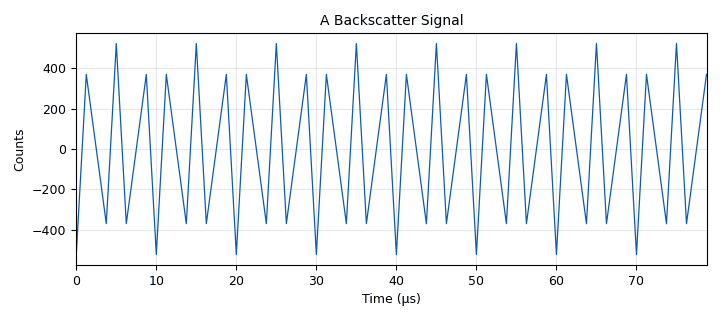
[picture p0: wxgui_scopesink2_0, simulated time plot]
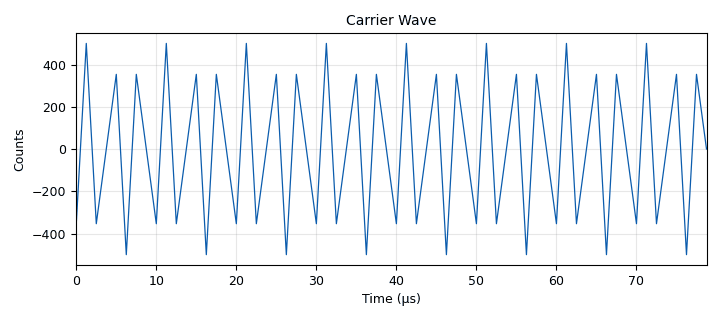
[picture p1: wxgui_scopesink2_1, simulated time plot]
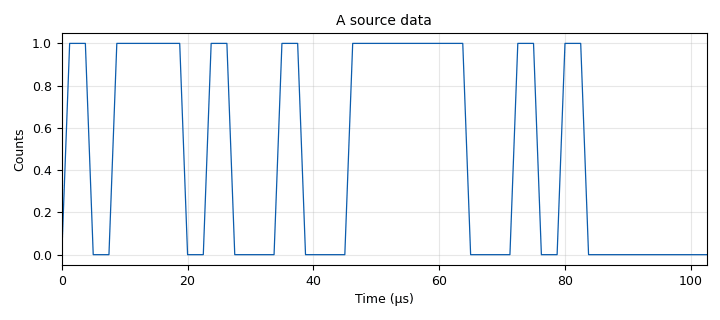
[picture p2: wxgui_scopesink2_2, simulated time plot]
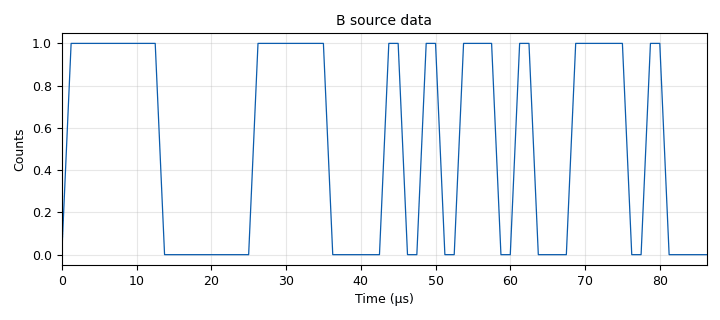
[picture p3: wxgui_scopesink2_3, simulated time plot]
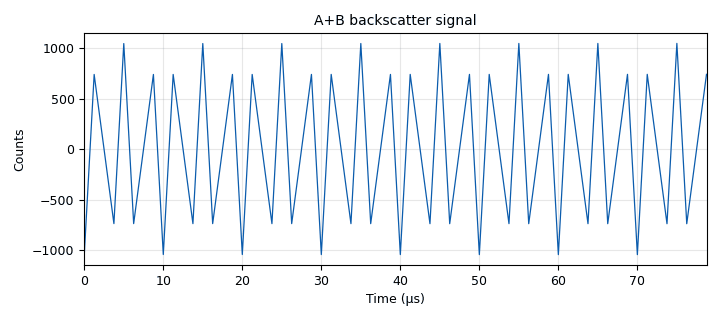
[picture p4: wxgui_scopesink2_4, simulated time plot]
<?xml version='1.0' encoding='utf-8'?>
<?grc format='1' created='3.7.11'?>
<flow_graph>
<block>
<key>options</key>
<param><key>id</key><value>top_block</value></param>
<param><key>generate_options</key><value>wx_gui</value></param>
</block>
<block>
<key>variable</key>
<param><key>id</key><value>directory</value></param>
<param><key>value</key><value>0</value></param>
</block>
<block>
<key>variable</key>
<param><key>id</key><value>samp_rate</value></param>
<param><key>value</key><value>800000</value></param>
</block>
<block>
<key>analog_const_source_x</key>
<param><key>id</key><value>analog_const_source_x_0</value></param>
<param><key>const</key><value>0</value></param>
<param><key>type</key><value>float</value></param>
</block>
<block>
<key>analog_const_source_x</key>
<param><key>id</key><value>analog_const_source_x_1</value></param>
<param><key>const</key><value>0</value></param>
<param><key>type</key><value>float</value></param>
</block>
<block>
<key>analog_const_source_x</key>
<param><key>id</key><value>analog_const_source_x_2</value></param>
<param><key>const</key><value>0</value></param>
<param><key>type</key><value>float</value></param>
</block>
<block>
<key>analog_random_source_x</key>
<param><key>id</key><value>analog_random_source_x_0</value></param>
<param><key>max</key><value>2</value></param>
<param><key>min</key><value>0</value></param>
<param><key>num_samps</key><value>1000</value></param>
<param><key>type</key><value>int</value></param>
<param><key>repeat</key><value>True</value></param>
</block>
<block>
<key>analog_random_source_x</key>
<param><key>id</key><value>analog_random_source_x_1</value></param>
<param><key>max</key><value>2</value></param>
<param><key>min</key><value>0</value></param>
<param><key>num_samps</key><value>1000</value></param>
<param><key>type</key><value>int</value></param>
<param><key>repeat</key><value>True</value></param>
</block>
<block>
<key>analog_sig_source_x</key>
<param><key>id</key><value>analog_sig_source_x_0</value></param>
<param><key>amp</key><value>500</value></param>
<param><key>freq</key><value>300000</value></param>
<param><key>offset</key><value>0</value></param>
<param><key>type</key><value>float</value></param>
<param><key>samp_rate</key><value>samp_rate</value></param>
<param><key>waveform</key><value>analog.GR_COS_WAVE</value></param>
</block>
<block>
<key>blocks_add_xx</key>
<param><key>id</key><value>blocks_add_xx_0</value></param>
<param><key>type</key><value>float</value></param>
</block>
<block>
<key>blocks_add_xx</key>
<param><key>id</key><value>blocks_add_xx_1</value></param>
<param><key>type</key><value>float</value></param>
</block>
<block>
<key>blocks_complex_to_float</key>
<param><key>id</key><value>blocks_complex_to_float_0</value></param>
</block>
<block>
<key>blocks_complex_to_float</key>
<param><key>id</key><value>blocks_complex_to_float_1</value></param>
</block>
<block>
<key>blocks_complex_to_float</key>
<param><key>id</key><value>blocks_complex_to_float_2</value></param>
</block>
<block>
<key>blocks_file_sink</key>
<param><key>id</key><value>blocks_file_sink_0</value></param>
<param><key>file</key><value>/Users/jaredweinstein/Desktop/CS434Project/output/a_backscatter</value></param>
<param><key>type</key><value>float</value></param>
</block>
<block>
<key>blocks_file_sink</key>
<param><key>id</key><value>blocks_file_sink_1</value></param>
<param><key>file</key><value>/Users/jaredweinstein/Desktop/CS434Project/output/carrier</value></param>
<param><key>type</key><value>float</value></param>
</block>
<block>
<key>blocks_file_sink</key>
<param><key>id</key><value>blocks_file_sink_2</value></param>
<param><key>file</key><value>/Users/jaredweinstein/Desktop/CS434Project/output/a_srcdata</value></param>
<param><key>type</key><value>float</value></param>
</block>
<block>
<key>blocks_file_sink</key>
<param><key>id</key><value>blocks_file_sink_3</value></param>
<param><key>file</key><value>/Users/jaredweinstein/Desktop/CS434Project/output/ab_backscatter</value></param>
<param><key>type</key><value>float</value></param>
</block>
<block>
<key>blocks_file_sink</key>
<param><key>id</key><value>blocks_file_sink_4</value></param>
<param><key>file</key><value>/Users/jaredweinstein/Desktop/CS434Project/output/b_srcdata</value></param>
<param><key>type</key><value>float</value></param>
</block>
<block>
<key>blocks_float_to_complex</key>
<param><key>id</key><value>blocks_float_to_complex_0</value></param>
</block>
<block>
<key>blocks_float_to_complex</key>
<param><key>id</key><value>blocks_float_to_complex_1</value></param>
</block>
<block>
<key>blocks_float_to_complex</key>
<param><key>id</key><value>blocks_float_to_complex_2</value></param>
</block>
<block>
<key>blocks_int_to_float</key>
<param><key>id</key><value>blocks_int_to_float_0</value></param>
<param><key>scale</key><value>1</value></param>
</block>
<block>
<key>blocks_int_to_float</key>
<param><key>id</key><value>blocks_int_to_float_1</value></param>
<param><key>scale</key><value>1</value></param>
</block>
<block>
<key>blocks_multiply_const_vxx</key>
<param><key>id</key><value>blocks_multiply_const_vxx_0</value></param>
<param><key>const</key><value>1</value></param>
<param><key>type</key><value>float</value></param>
</block>
<block>
<key>blocks_multiply_const_vxx</key>
<param><key>id</key><value>blocks_multiply_const_vxx_1</value></param>
<param><key>const</key><value>1</value></param>
<param><key>type</key><value>float</value></param>
</block>
<block>
<key>blocks_multiply_xx</key>
<param><key>id</key><value>blocks_multiply_xx_0</value></param>
<param><key>type</key><value>float</value></param>
</block>
<block>
<key>blocks_multiply_xx</key>
<param><key>id</key><value>blocks_multiply_xx_1</value></param>
<param><key>type</key><value>float</value></param>
</block>
<block>
<key>blocks_repeat</key>
<param><key>id</key><value>blocks_repeat_0</value></param>
<param><key>interp</key><value>8000</value></param>
<param><key>type</key><value>float</value></param>
</block>
<block>
<key>blocks_repeat</key>
<param><key>id</key><value>blocks_repeat_1</value></param>
<param><key>interp</key><value>8000</value></param>
<param><key>type</key><value>float</value></param>
</block>
<block>
<key>blocks_repeat</key>
<param><key>id</key><value>blocks_repeat_2</value></param>
<param><key>interp</key><value>2</value></param>
<param><key>type</key><value>int</value></param>
</block>
<block>
<key>blocks_repeat</key>
<param><key>id</key><value>blocks_repeat_3</value></param>
<param><key>interp</key><value>3</value></param>
<param><key>type</key><value>int</value></param>
</block>
<block>
<key>blocks_throttle</key>
<param><key>id</key><value>blocks_throttle_0</value></param>
<param><key>samples_per_second</key><value>samp_rate</value></param>
<param><key>type</key><value>float</value></param>
</block>
<block>
<key>channels_fading_model</key>
<param><key>id</key><value>channels_fading_model_0</value></param>
<param><key>LOS</key><value>False</value></param>
<param><key>fDTs</key><value>10.0/samp_rate</value></param>
<param><key>N</key><value>2</value></param>
<param><key>K</key><value>4</value></param>
<param><key>seed</key><value>0</value></param>
</block>
<block>
<key>channels_fading_model</key>
<param><key>id</key><value>channels_fading_model_1</value></param>
<param><key>LOS</key><value>False</value></param>
<param><key>fDTs</key><value>10.0/samp_rate</value></param>
<param><key>N</key><value>2</value></param>
<param><key>K</key><value>4</value></param>
<param><key>seed</key><value>0</value></param>
</block>
<block>
<key>channels_fading_model</key>
<param><key>id</key><value>channels_fading_model_2</value></param>
<param><key>LOS</key><value>False</value></param>
<param><key>fDTs</key><value>10.0/samp_rate</value></param>
<param><key>N</key><value>2</value></param>
<param><key>seed</key><value>0</value></param>
</block>
<block>
<key>notebook</key>
<param><key>id</key><value>n</value></param>
<param><key>labels</key><value>['carrier', 'a', 'ab']</value></param>
<param><key>style</key><value>wx.NB_TOP</value></param>
</block>
<block>
<key>wxgui_scopesink2</key>
<param><key>id</key><value>wxgui_scopesink2_0</value></param>
<param><key>ac_couple</key><value>False</value></param>
<param><key>notebook</key><value>n, 1</value></param>
<param><key>num_inputs</key><value>1</value></param>
<param><key>samp_rate</key><value>samp_rate</value></param>
<param><key>t_scale</key><value>0</value></param>
<param><key>title</key><value>A Backscatter Signal</value></param>
<param><key>trig_mode</key><value>wxgui.TRIG_MODE_AUTO</value></param>
<param><key>type</key><value>float</value></param>
<param><key>v_offset</key><value>0</value></param>
<param><key>v_scale</key><value>0</value></param>
<param><key>xy_mode</key><value>False</value></param>
<param><key>y_axis_label</key><value>Counts</value></param>
</block>
<block>
<key>wxgui_scopesink2</key>
<param><key>id</key><value>wxgui_scopesink2_1</value></param>
<param><key>ac_couple</key><value>False</value></param>
<param><key>notebook</key><value>n, 0</value></param>
<param><key>num_inputs</key><value>1</value></param>
<param><key>samp_rate</key><value>samp_rate</value></param>
<param><key>t_scale</key><value>0</value></param>
<param><key>title</key><value>Carrier Wave</value></param>
<param><key>trig_mode</key><value>wxgui.TRIG_MODE_AUTO</value></param>
<param><key>type</key><value>float</value></param>
<param><key>v_offset</key><value>0</value></param>
<param><key>v_scale</key><value>0</value></param>
<param><key>xy_mode</key><value>False</value></param>
<param><key>y_axis_label</key><value>Counts</value></param>
</block>
<block>
<key>wxgui_scopesink2</key>
<param><key>id</key><value>wxgui_scopesink2_2</value></param>
<param><key>ac_couple</key><value>False</value></param>
<param><key>notebook</key><value>n ,1</value></param>
<param><key>num_inputs</key><value>1</value></param>
<param><key>samp_rate</key><value>samp_rate</value></param>
<param><key>t_scale</key><value>0</value></param>
<param><key>title</key><value>A source data</value></param>
<param><key>trig_mode</key><value>wxgui.TRIG_MODE_AUTO</value></param>
<param><key>type</key><value>float</value></param>
<param><key>v_offset</key><value>0</value></param>
<param><key>v_scale</key><value>0</value></param>
<param><key>xy_mode</key><value>False</value></param>
<param><key>y_axis_label</key><value>Counts</value></param>
</block>
<block>
<key>wxgui_scopesink2</key>
<param><key>id</key><value>wxgui_scopesink2_3</value></param>
<param><key>ac_couple</key><value>False</value></param>
<param><key>notebook</key><value>n, 2</value></param>
<param><key>num_inputs</key><value>1</value></param>
<param><key>samp_rate</key><value>samp_rate</value></param>
<param><key>t_scale</key><value>0</value></param>
<param><key>title</key><value>B source data</value></param>
<param><key>trig_mode</key><value>wxgui.TRIG_MODE_AUTO</value></param>
<param><key>type</key><value>float</value></param>
<param><key>v_offset</key><value>0</value></param>
<param><key>v_scale</key><value>0</value></param>
<param><key>xy_mode</key><value>False</value></param>
<param><key>y_axis_label</key><value>Counts</value></param>
</block>
<block>
<key>wxgui_scopesink2</key>
<param><key>id</key><value>wxgui_scopesink2_4</value></param>
<param><key>ac_couple</key><value>False</value></param>
<param><key>notebook</key><value>n, 2</value></param>
<param><key>num_inputs</key><value>1</value></param>
<param><key>samp_rate</key><value>samp_rate</value></param>
<param><key>t_scale</key><value>0</value></param>
<param><key>title</key><value>A+B backscatter signal</value></param>
<param><key>trig_mode</key><value>wxgui.TRIG_MODE_AUTO</value></param>
<param><key>type</key><value>float</value></param>
<param><key>v_offset</key><value>0</value></param>
<param><key>v_scale</key><value>0</value></param>
<param><key>xy_mode</key><value>False</value></param>
<param><key>y_axis_label</key><value>Counts</value></param>
</block>
<connection><source_block_id>analog_const_source_x_0</source_block_id><sink_block_id>blocks_float_to_complex_0</sink_block_id><source_key>0</source_key><sink_key>1</sink_key></connection>
<connection><source_block_id>analog_const_source_x_1</source_block_id><sink_block_id>blocks_float_to_complex_1</sink_block_id><source_key>0</source_key><sink_key>1</sink_key></connection>
<connection><source_block_id>analog_const_source_x_2</source_block_id><sink_block_id>blocks_float_to_complex_2</sink_block_id><source_key>0</source_key><sink_key>1</sink_key></connection>
<connection><source_block_id>analog_random_source_x_0</source_block_id><sink_block_id>blocks_repeat_3</sink_block_id><source_key>0</source_key><sink_key>0</sink_key></connection>
<connection><source_block_id>analog_random_source_x_1</source_block_id><sink_block_id>blocks_repeat_2</sink_block_id><source_key>0</source_key><sink_key>0</sink_key></connection>
<connection><source_block_id>analog_sig_source_x_0</source_block_id><sink_block_id>blocks_file_sink_1</sink_block_id><source_key>0</source_key><sink_key>0</sink_key></connection>
<connection><source_block_id>analog_sig_source_x_0</source_block_id><sink_block_id>blocks_float_to_complex_2</sink_block_id><source_key>0</source_key><sink_key>0</sink_key></connection>
<connection><source_block_id>analog_sig_source_x_0</source_block_id><sink_block_id>blocks_multiply_xx_0</sink_block_id><source_key>0</source_key><sink_key>1</sink_key></connection>
<connection><source_block_id>analog_sig_source_x_0</source_block_id><sink_block_id>blocks_multiply_xx_1</sink_block_id><source_key>0</source_key><sink_key>0</sink_key></connection>
<connection><source_block_id>analog_sig_source_x_0</source_block_id><sink_block_id>wxgui_scopesink2_1</sink_block_id><source_key>0</source_key><sink_key>0</sink_key></connection>
<connection><source_block_id>blocks_add_xx_0</source_block_id><sink_block_id>blocks_add_xx_1</sink_block_id><source_key>0</source_key><sink_key>0</sink_key></connection>
<connection><source_block_id>blocks_add_xx_0</source_block_id><sink_block_id>blocks_file_sink_0</sink_block_id><source_key>0</source_key><sink_key>0</sink_key></connection>
<connection><source_block_id>blocks_add_xx_0</source_block_id><sink_block_id>blocks_throttle_0</sink_block_id><source_key>0</source_key><sink_key>0</sink_key></connection>
<connection><source_block_id>blocks_add_xx_1</source_block_id><sink_block_id>blocks_file_sink_3</sink_block_id><source_key>0</source_key><sink_key>0</sink_key></connection>
<connection><source_block_id>blocks_add_xx_1</source_block_id><sink_block_id>wxgui_scopesink2_4</sink_block_id><source_key>0</source_key><sink_key>0</sink_key></connection>
<connection><source_block_id>blocks_complex_to_float_0</source_block_id><sink_block_id>blocks_add_xx_0</sink_block_id><source_key>0</source_key><sink_key>0</sink_key></connection>
<connection><source_block_id>blocks_complex_to_float_1</source_block_id><sink_block_id>blocks_add_xx_1</sink_block_id><source_key>0</source_key><sink_key>1</sink_key></connection>
<connection><source_block_id>blocks_complex_to_float_2</source_block_id><sink_block_id>blocks_add_xx_0</sink_block_id><source_key>0</source_key><sink_key>1</sink_key></connection>
<connection><source_block_id>blocks_float_to_complex_0</source_block_id><sink_block_id>channels_fading_model_0</sink_block_id><source_key>0</source_key><sink_key>0</sink_key></connection>
<connection><source_block_id>blocks_float_to_complex_1</source_block_id><sink_block_id>channels_fading_model_1</sink_block_id><source_key>0</source_key><sink_key>0</sink_key></connection>
<connection><source_block_id>blocks_float_to_complex_2</source_block_id><sink_block_id>channels_fading_model_2</sink_block_id><source_key>0</source_key><sink_key>0</sink_key></connection>
<connection><source_block_id>blocks_int_to_float_0</source_block_id><sink_block_id>blocks_file_sink_2</sink_block_id><source_key>0</source_key><sink_key>0</sink_key></connection>
<connection><source_block_id>blocks_int_to_float_0</source_block_id><sink_block_id>blocks_repeat_0</sink_block_id><source_key>0</source_key><sink_key>0</sink_key></connection>
<connection><source_block_id>blocks_int_to_float_0</source_block_id><sink_block_id>wxgui_scopesink2_2</sink_block_id><source_key>0</source_key><sink_key>0</sink_key></connection>
<connection><source_block_id>blocks_int_to_float_1</source_block_id><sink_block_id>blocks_file_sink_4</sink_block_id><source_key>0</source_key><sink_key>0</sink_key></connection>
<connection><source_block_id>blocks_int_to_float_1</source_block_id><sink_block_id>blocks_repeat_1</sink_block_id><source_key>0</source_key><sink_key>0</sink_key></connection>
<connection><source_block_id>blocks_int_to_float_1</source_block_id><sink_block_id>wxgui_scopesink2_3</sink_block_id><source_key>0</source_key><sink_key>0</sink_key></connection>
<connection><source_block_id>blocks_multiply_const_vxx_0</source_block_id><sink_block_id>blocks_float_to_complex_1</sink_block_id><source_key>0</source_key><sink_key>0</sink_key></connection>
<connection><source_block_id>blocks_multiply_const_vxx_1</source_block_id><sink_block_id>blocks_float_to_complex_0</sink_block_id><source_key>0</source_key><sink_key>0</sink_key></connection>
<connection><source_block_id>blocks_multiply_xx_0</source_block_id><sink_block_id>blocks_multiply_const_vxx_1</sink_block_id><source_key>0</source_key><sink_key>0</sink_key></connection>
<connection><source_block_id>blocks_multiply_xx_1</source_block_id><sink_block_id>blocks_multiply_const_vxx_0</sink_block_id><source_key>0</source_key><sink_key>0</sink_key></connection>
<connection><source_block_id>blocks_repeat_0</source_block_id><sink_block_id>blocks_multiply_xx_0</sink_block_id><source_key>0</source_key><sink_key>0</sink_key></connection>
<connection><source_block_id>blocks_repeat_1</source_block_id><sink_block_id>blocks_multiply_xx_1</sink_block_id><source_key>0</source_key><sink_key>1</sink_key></connection>
<connection><source_block_id>blocks_repeat_2</source_block_id><sink_block_id>blocks_int_to_float_1</sink_block_id><source_key>0</source_key><sink_key>0</sink_key></connection>
<connection><source_block_id>blocks_repeat_3</source_block_id><sink_block_id>blocks_int_to_float_0</sink_block_id><source_key>0</source_key><sink_key>0</sink_key></connection>
<connection><source_block_id>blocks_throttle_0</source_block_id><sink_block_id>wxgui_scopesink2_0</sink_block_id><source_key>0</source_key><sink_key>0</sink_key></connection>
<connection><source_block_id>channels_fading_model_0</source_block_id><sink_block_id>blocks_complex_to_float_0</sink_block_id><source_key>0</source_key><sink_key>0</sink_key></connection>
<connection><source_block_id>channels_fading_model_1</source_block_id><sink_block_id>blocks_complex_to_float_1</sink_block_id><source_key>0</source_key><sink_key>0</sink_key></connection>
<connection><source_block_id>channels_fading_model_2</source_block_id><sink_block_id>blocks_complex_to_float_2</sink_block_id><source_key>0</source_key><sink_key>0</sink_key></connection>
</flow_graph>
